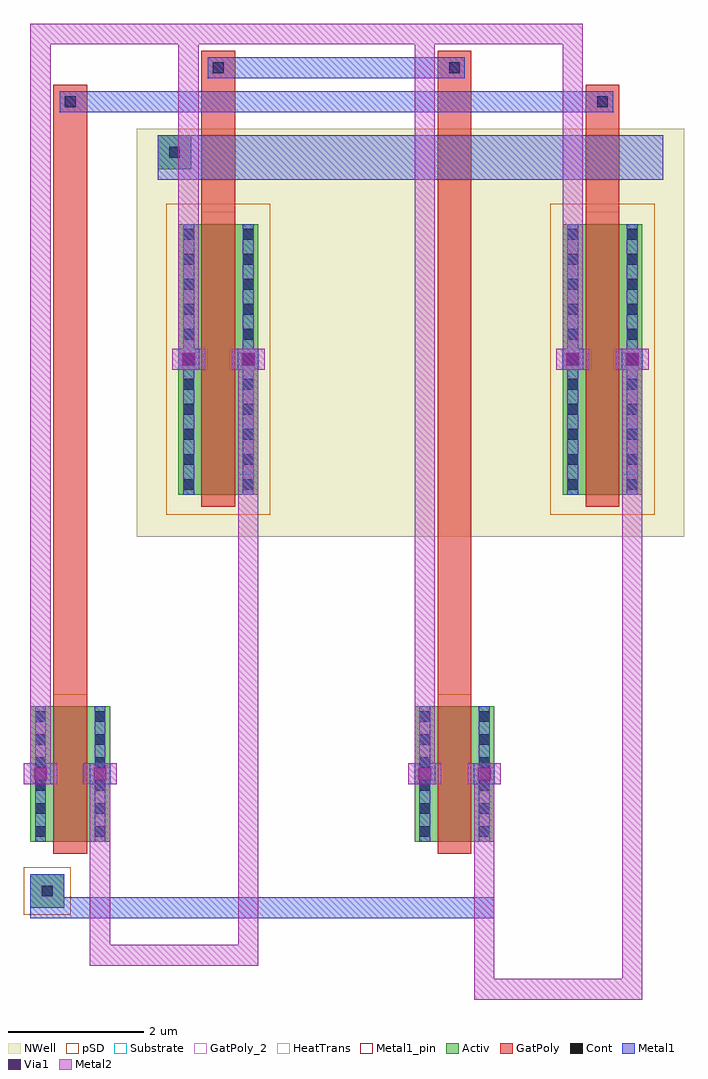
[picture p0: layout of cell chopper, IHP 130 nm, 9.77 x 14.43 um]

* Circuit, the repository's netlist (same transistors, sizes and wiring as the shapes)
.subckt chopper chop_out sens_p sens_n f_exc f_exc_b gnd vdd
MMchop1n sens_p f_exc chop_out gnd sg13_lv_nmos w=2u l=0.5u ng=1 m=1
MMchop1p sens_p f_exc_b chop_out vdd sg13_lv_pmos w=4u l=0.5u ng=1 m=1
MMchop2n sens_n f_exc_b chop_out gnd sg13_lv_nmos w=2u l=0.5u ng=1 m=1
MMchop2p sens_n f_exc chop_out vdd sg13_lv_pmos w=4u l=0.5u ng=1 m=1
.ends chopper

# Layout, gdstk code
import gdstk
lib = gdstk.Library(unit=1e-6, precision=1e-09)
def R(c, l, rs):  # rectangles x0, y0, x1, y1
    for r in rs: c.add(gdstk.rectangle(r[:2], r[2:], *l))
def A(c, l, x, y, w, h, nx, ny, dx, dy):  # array of equal rectangles
    R(c, l, [(x+i*dx, y+j*dy, x+i*dx+w, y+j*dy+h) for i in range(nx) for j in range(ny)])
Activ = (1, 0)
GatPoly = (5, 0)
GatPoly_2 = (5, 2)
Cont = (6, 0)
Metal1 = (8, 0)
Metal1_pin = (8, 2)
Metal2 = (10, 0)
pSD = (14, 0)
Via1 = (19, 0)
NWell = (31, 0)
Substrate = (40, 0)
HeatTrans = (51, 0)

nmos = lib.new_cell('nmos')
R(nmos, Activ, [(0,0,0.3,0.3), (0,0,1.18,2), (0.88,0,1.18,0.3)])
R(nmos, GatPoly, [(0.34,-0.18,0.84,2.18)])
R(nmos, GatPoly_2, [(0.34,-0.18,0.84,2.18)])
A(nmos, Cont, 0.07, 0.07, 0.16, 0.16, 1, 6, 0, 0.34)
A(nmos, Cont, 0.95, 0.07, 0.16, 0.16, 1, 6, 0, 0.34)
R(nmos, Metal1, [(0.07,0,0.23,2), (0.95,0,1.11,2)])
R(nmos, Metal1_pin, [(0.07,0,0.23,2), (0.95,0,1.11,2)])
R(nmos, HeatTrans, [(0.34,-0.18,0.84,2.18)])
nmos.add(gdstk.Label('nmos', (0.59,1), layer=63, texttype=0))
nmos.add(gdstk.Label('nmos', (0.59,1), layer=51, texttype=0))

pmos = lib.new_cell('pmos')
R(pmos, Activ, [(0,0,0.3,0.3), (0,0,1.18,4), (0.88,0,1.18,0.3)])
R(pmos, GatPoly, [(0.34,-0.18,0.84,4.18), (0.34,-0.18,0.84,4.18)])
A(pmos, Cont, 0.07, 0.07, 0.16, 0.16, 1, 11, 0, 0.37)
A(pmos, Cont, 0.95, 0.07, 0.16, 0.16, 1, 11, 0, 0.37)
R(pmos, Metal1, [(0.07,0,0.23,4), (0.07,0,0.23,4), (0.95,0,1.11,4), (0.95,0,1.11,4)])
R(pmos, pSD, [(-0.18,-0.3,1.36,4.3)])
R(pmos, NWell, [(-0.31,-0.31,1.49,4.31)])
R(pmos, Substrate, [(0.88,0,1.18,0.3)])
R(pmos, HeatTrans, [(0.34,-0.18,0.84,4.18)])
pmos.add(gdstk.Label('pmos', (0.59,2), layer=63, texttype=0))
pmos.add(gdstk.Label('pmos', (0.59,2), layer=51, texttype=0))

chopper = lib.new_cell('chopper')
R(chopper, Activ, [(0,-0.8,0.5,-0.3), (1.88,10.12,2.38,10.62)])
R(chopper, GatPoly, [(0.34,2.36,0.84,11.37), (6.02,2.36,6.52,11.87), (2.53,9.49,3.03,11.87), (8.21,9.49,8.71,11.37)])
R(chopper, Cont, [(0.17,-0.63,0.33,-0.47), (2.05,10.29,2.21,10.45), (0.51,11.04,0.67,11.2), (8.38,11.04,8.54,11.2), (2.7,11.54,2.86,11.7), (6.19,11.54,6.35,11.7)])
R(chopper, Metal1, [(0,-0.955,6.86,-0.645), (0,-0.8,0.5,-0.3), (-0.005,1.025,0.305,1.335), (0.875,1.025,1.185,1.335), (5.675,1.025,5.985,1.335), (6.555,1.025,6.865,1.335), (2.185,7.155,2.495,7.465), (3.065,7.155,3.375,7.465), (7.865,7.155,8.175,7.465), (8.745,7.155,9.055,7.465), (1.88,9.965,9.36,10.62), (1.88,10.12,2.38,10.62), (0.435,10.965,0.745,11.275), (0.435,10.965,8.615,11.275), (8.305,10.965,8.615,11.275), (2.625,11.465,2.935,11.775), (2.625,11.465,6.425,11.775), (6.115,11.465,6.425,11.775)])
R(chopper, Metal2, [(6.56,-2.155,9.05,-1.845), (6.56,-2.155,6.86,1.335), (8.75,-2.155,9.05,7.465), (0.88,-1.655,1.18,1.335), (0.88,-1.655,3.37,-1.345), (3.07,-1.655,3.37,7.465), (-0.095,1.025,0.395,1.335), (0,1.025,0.3,12.275), (0.785,1.025,1.275,1.335), (5.585,1.025,6.075,1.335), (5.68,1.025,5.98,12.275), (6.465,1.025,6.955,1.335), (2.095,7.155,2.585,7.465), (2.19,7.155,2.49,12.275), (2.975,7.155,3.465,7.465), (7.775,7.155,8.265,7.465), (7.87,7.155,8.17,12.275), (8.655,7.155,9.145,7.465), (0,11.965,8.17,12.275)])
R(chopper, pSD, [(-0.1,-0.9,0.6,-0.2)])
R(chopper, Via1, [(0.055,1.085,0.245,1.275), (0.935,1.085,1.125,1.275), (5.735,1.085,5.925,1.275), (6.615,1.085,6.805,1.275), (2.245,7.215,2.435,7.405), (3.125,7.215,3.315,7.405), (7.925,7.215,8.115,7.405), (8.805,7.215,8.995,7.405)])
R(chopper, NWell, [(1.57,4.69,9.67,10.72)])
chopper.add(gdstk.Reference(nmos, (0,0.18)))
chopper.add(gdstk.Reference(pmos, (2.19,5.31)))
chopper.add(gdstk.Reference(nmos, (5.68,0.18)))
chopper.add(gdstk.Reference(pmos, (7.87,5.31)))

lib.write_gds('chopper.gds')
